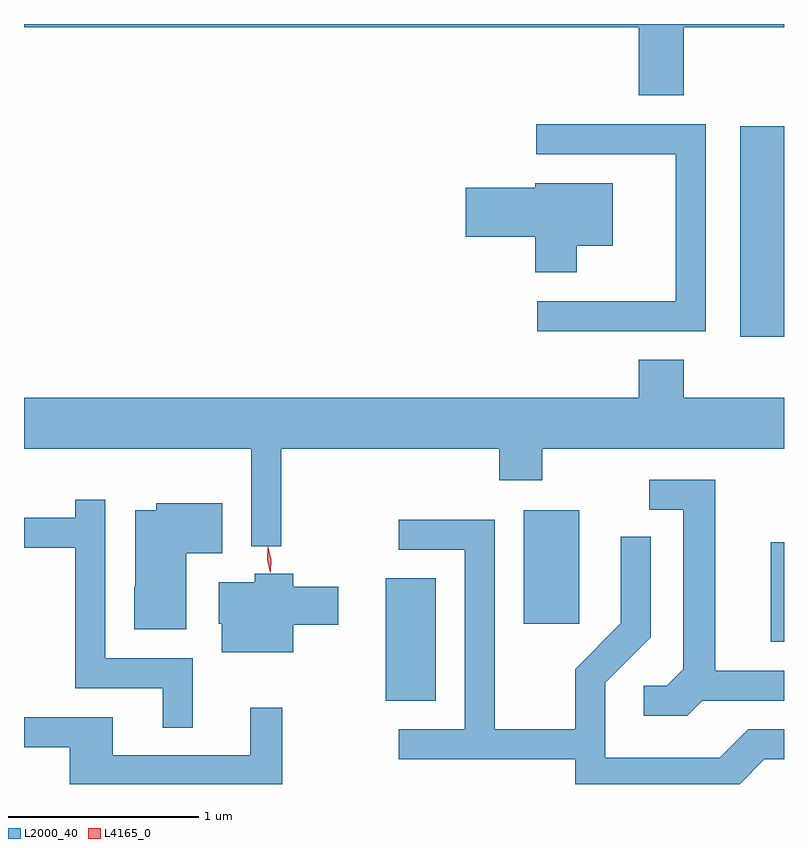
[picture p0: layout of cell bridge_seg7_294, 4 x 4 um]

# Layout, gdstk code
import gdstk
lib = gdstk.Library(unit=1e-6, precision=1e-09)
def R(c, l, rs):  # rectangles x0, y0, x1, y1
    for r in rs: c.add(gdstk.rectangle(r[:2], r[2:], *l))
def P(c, l, *ps):  # polygons
    for p in ps: c.add(gdstk.Polygon(p, *l))
L2000_40 = (2000, 40)
L4165_0 = (4165, 0)

bridge_seg7_294 = lib.new_cell('bridge_seg7_294')
R(bridge_seg7_294, L2000_40, [(1282.326,1737.411,1282.589,1738.054), (1284.351,1737.721,1284.421,1738.244), (1283.051,1737.816,1283.344,1738.414), (1284.191,1739.326,1284.421,1740.434)])
P(bridge_seg7_294, L2000_40, [(1283.894,1740.956),(1284.421,1740.956),(1284.421,1740.972),(1280.421,1740.972),(1280.421,1740.956),(1283.656,1740.956),(1283.656,1740.596),(1283.894,1740.596)],
  [(1284.009,1740.444),(1283.118,1740.444),(1283.118,1740.286),(1283.851,1740.286),(1283.851,1739.514),(1283.123,1739.514),(1283.123,1739.356),(1284.009,1739.356)],
  [(1283.329,1739.806),(1283.519,1739.806),(1283.519,1740.134),(1283.111,1740.134),(1283.111,1740.109),(1282.746,1740.109),(1282.746,1739.851),(1283.111,1739.851),(1283.111,1739.666),(1283.329,1739.666)],
  [(1281.774,1738.736),(1282.921,1738.736),(1282.921,1738.571),(1283.149,1738.571),(1283.149,1738.736),(1284.421,1738.736),(1284.421,1739.004),(1283.894,1739.004),(1283.894,1739.204),(1283.656,1739.204),(1283.656,1739.004),(1280.421,1739.004),(1280.421,1738.736),(1281.616,1738.736),(1281.616,1738.223),(1281.774,1738.223)],
  [(1283.992,1737.411),(1284.421,1737.411),(1284.421,1737.569),(1284.059,1737.569),(1284.059,1738.574),(1283.713,1738.574),(1283.713,1738.416),(1283.891,1738.416),(1283.891,1737.577),(1283.804,1737.489),(1283.683,1737.489),(1283.683,1737.331),(1283.912,1737.331)],
  [(1281.309,1737.634),(1280.849,1737.634),(1280.849,1738.468),(1280.691,1738.468),(1280.691,1738.374),(1280.421,1738.374),(1280.421,1738.216),(1280.691,1738.216),(1280.691,1737.476),(1281.151,1737.476),(1281.151,1737.268),(1281.309,1737.268)],
  [(1281.274,1738.186),(1281.464,1738.186),(1281.464,1738.449),(1281.116,1738.449),(1281.116,1738.414),(1281.006,1738.414),(1281.006,1738.01),(1281.001,1738.01),(1281.001,1737.786),(1281.274,1737.786)],
  [(1284.317,1737.101),(1284.421,1737.101),(1284.421,1737.259),(1284.234,1737.259),(1284.084,1737.109),(1283.479,1737.109),(1283.479,1737.504),(1283.719,1737.744),(1283.719,1738.273),(1283.561,1738.273),(1283.561,1737.817),(1283.321,1737.577),(1283.321,1737.259),(1282.899,1737.259),(1282.899,1738.364),(1282.393,1738.364),(1282.393,1738.206),(1282.741,1738.206),(1282.741,1737.259),(1282.393,1737.259),(1282.393,1737.101),(1283.321,1737.101),(1283.321,1736.972),(1284.188,1736.972)],
  [(1281.839,1737.811),(1282.074,1737.811),(1282.074,1738.009),(1281.839,1738.009),(1281.839,1738.079),(1281.636,1738.079),(1281.636,1738.034),(1281.446,1738.034),(1281.446,1737.815),(1281.461,1737.815),(1281.461,1737.666),(1281.839,1737.666)],
  [(1281.779,1737.373),(1281.611,1737.373),(1281.611,1737.124),(1280.889,1737.124),(1280.889,1737.324),(1280.421,1737.324),(1280.421,1737.166),(1280.661,1737.166),(1280.661,1736.972),(1281.779,1736.972)])
P(bridge_seg7_294, L4165_0, [(1281.716,1738.083),(1281.7,1738.151),(1281.703,1738.22),(1281.704,1738.22),(1281.704,1738.22),(1281.72,1738.152),(1281.717,1738.083),(1281.717,1738.083)],
  [(1281.719,1738.089),(1281.718,1738.09),(1281.703,1738.152),(1281.706,1738.217),(1281.706,1738.217),(1281.707,1738.217),(1281.722,1738.154),(1281.719,1738.09)])

lib.write_gds('bridge_seg7_294.gds')
